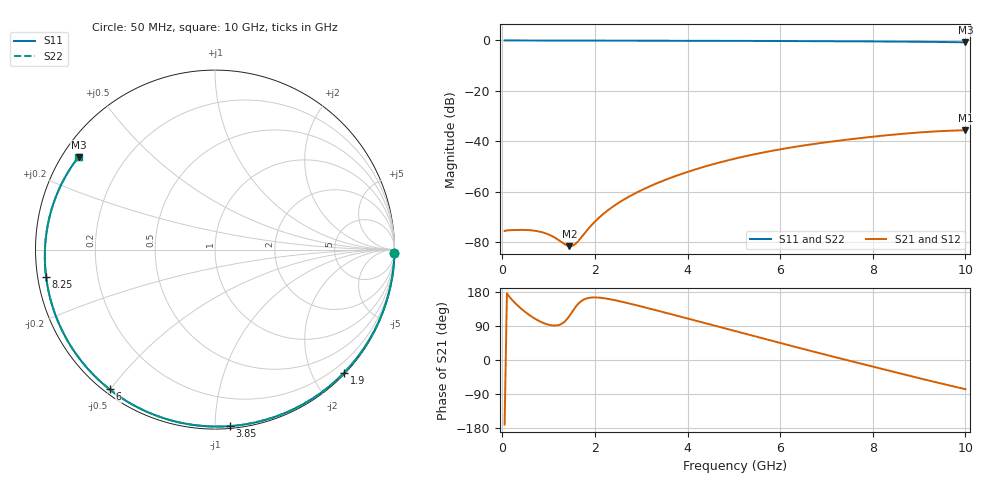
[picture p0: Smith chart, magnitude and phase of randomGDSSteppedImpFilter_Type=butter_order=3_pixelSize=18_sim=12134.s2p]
! freq	dB(S11)	phase(S11)	dB(S12)	phase(S12)
!  dB(S21)	phase(S21)	dB(S22)	phase(S22)
!S-par simulation data
#  GHz  S  DB  R 50
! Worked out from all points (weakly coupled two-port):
!   200 points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, 50 MHz to 10 GHz, reference 50 ohm
!   highest |S21| = -35.56 dB at 10 GHz (marker M1); lowest = -81.5 dB at 1.45 GHz (marker M2)
!   lowest |S11| = -0.7 dB at 10 GHz (marker M3), VSWR 23.60, Z = 2.32 + j15.3 ohm
!   |S11| at or under -10 dB: nowhere
!   |S22| runs from -0.7 to 0.0 dB; largest |S21 - S12| = 0
!   S11 on the Smith chart (normalised r, x): 50 MHz: 0, -97; 1.9 GHz: 0.02, -2.50; 3.85 GHz: 0.01, -1.09; 6 GHz: 0.02, -0.50; 8.25 GHz: 0.02, -0.08; 10 GHz: 0.05, +0.31
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0.05  -0.00 -1.2  -75.46 -170.5  -75.46 -170.5  -0.00 -1.2
0.4  -0.01 -9.4  -75.02 136.3  -75.02 136.3  -0.01 -9.4
0.75  -0.02 -17.5  -75.49 105.8  -75.49 105.8  -0.02 -17.5
1  -0.03 -23.3  -76.84 93.0  -76.84 93.0  -0.03 -23.3
1.3  -0.04 -30.2  -80.09 96.8  -80.09 96.8  -0.04 -30.1
1.45  -0.04 -33.6  -81.46 116.2  -81.46 116.2  -0.04 -33.6
1.6  -0.05 -36.9  -80.20 142.7  -80.20 142.7  -0.05 -36.9
1.75  -0.05 -40.3  -76.96 158.8  -76.96 158.8  -0.05 -40.3
1.9  -0.05 -43.7  -73.68 164.5  -73.68 164.5  -0.05 -43.6
2.15  -0.06 -49.2  -69.19 163.8  -69.19 163.8  -0.06 -49.2
2.5  -0.07 -56.8  -64.43 156.0  -64.43 156.0  -0.07 -56.8
2.9  -0.08 -65.4  -60.24 144.3  -60.24 144.3  -0.08 -65.4
3.4  -0.10 -75.9  -56.08 128.7  -56.08 128.7  -0.10 -75.9
3.85  -0.11 -85.1  -52.99 114.4  -52.99 114.4  -0.11 -85.1
5.05  -0.16 -108.9  -46.67 75.5  -46.67 75.5  -0.16 -108.8
6  -0.22 -127.0  -43.11 44.9  -43.11 44.9  -0.22 -127.0
6.7  -0.27 -140.3  -41.07 22.7  -41.07 22.7  -0.27 -140.3
7.5  -0.34 -155.8  -39.15 -2.1  -39.15 -2.1  -0.34 -155.7
8.25  -0.42 -170.9  -37.64 -25.1  -37.64 -25.1  -0.42 -170.8
8.35  -0.43 -173.0  -37.46 -28.2  -37.46 -28.2  -0.43 -172.9
9.25  -0.55 166.7  -36.13 -55.3  -36.13 -55.3  -0.55 166.8
10  -0.74 145.8  -35.56 -77.0  -35.56 -77.0  -0.74 145.9
